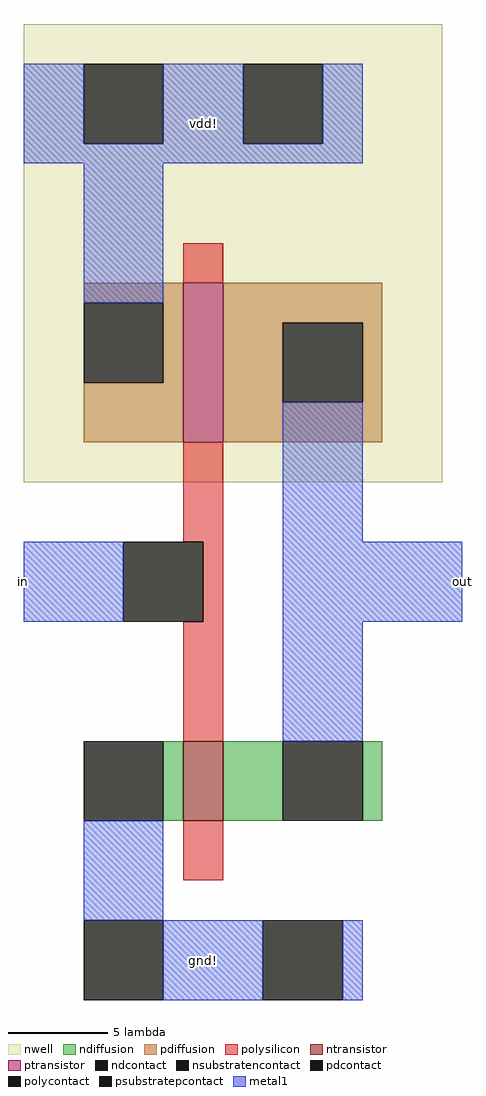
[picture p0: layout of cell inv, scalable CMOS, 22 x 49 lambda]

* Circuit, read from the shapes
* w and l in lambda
.subckt inv gnd! in out vdd!
M1 out in gnd! gnd! nfet w=4 l=2
M2 out in vdd! vdd! pfet w=8 l=2
.ends

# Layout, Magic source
magic
tech scmos
<< nwell >>
rect -10 4 11 27
<< polysilicon >>
rect -2 14 0 16
rect -2 1 0 6
rect -1 -3 0 1
rect -2 -9 0 -3
rect -2 -16 0 -13
<< ndiffusion >>
rect -3 -13 -2 -9
rect 0 -13 3 -9
rect 7 -13 8 -9
<< pdiffusion >>
rect -7 13 -2 14
rect -3 9 -2 13
rect -7 6 -2 9
rect 0 12 8 14
rect 0 8 3 12
rect 7 8 8 12
rect 0 6 8 8
<< metal1 >>
rect -10 21 -7 25
rect -3 21 1 25
rect 5 21 7 25
rect -10 20 7 21
rect -7 13 -3 20
rect 3 1 7 8
rect -10 -3 -5 1
rect 3 -3 12 1
rect 3 -9 7 -3
rect -7 -18 -3 -13
rect -3 -22 2 -18
rect 6 -22 7 -18
<< ntransistor >>
rect -2 -13 0 -9
<< ptransistor >>
rect -2 6 0 14
<< polycontact >>
rect -5 -3 -1 1
<< ndcontact >>
rect -7 -13 -3 -9
rect 3 -13 7 -9
<< pdcontact >>
rect -7 9 -3 13
rect 3 8 7 12
<< psubstratepcontact >>
rect -7 -22 -3 -18
rect 2 -22 6 -18
<< nsubstratencontact >>
rect -7 21 -3 25
rect 1 21 5 25
<< labels >>
rlabel metal1 -1 -20 -1 -20 1 gnd!
rlabel metal1 -1 22 -1 22 5 vdd!
rlabel metal1 -10 -3 -10 1 3 in
rlabel metal1 12 -3 12 1 7 out
<< end >>
